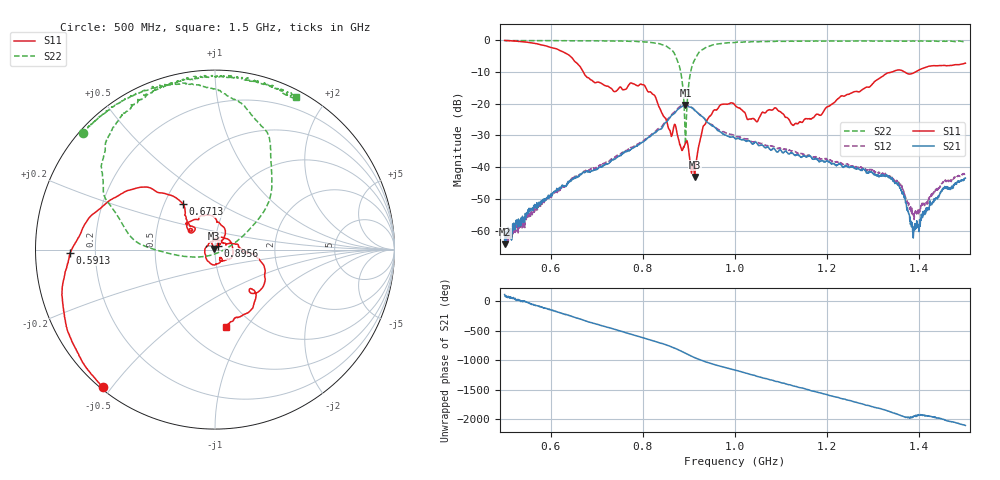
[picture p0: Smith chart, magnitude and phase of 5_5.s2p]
!Agilent Technologies,E8364B,US42250235,A.06.04.32
!Agilent E8364B: A.06.04.32
!Date: Friday, January 15, 2021 12:30:11
!Correction: S11(Full 2 Port(1,2)) S21(Full 2 Port(1,2)) S12(Full 2 Port(1,2)) S22(Full 2 Port(1,2))
!S2P File: Measurements: S11, S21, S12, S22:
# Hz S  dB  R 50
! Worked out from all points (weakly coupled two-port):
!   1601 points, 500 MHz to 1.5 GHz, reference 50 ohm
!   highest |S21| = -20.46 dB at 892.5 MHz (marker M1); lowest = -64.3 dB at 501.2 MHz (marker M2)
!   lowest |S11| = -43.1 dB at 912.5 MHz (marker M3), VSWR 1.01, Z = 49.6 + j0.578 ohm
!   |S11| at or under -10 dB: 670.7 MHz to 1.342 GHz (670.8 MHz wide, 66.7 % of centre); 1.368 GHz to 1.392 GHz (23.79 MHz wide, 1.72 % of centre)
!   |S22| runs from -33.0 to -0.1 dB; largest |S21 - S12| = 0.024
!   S11 on the Smith chart (normalised r, x): 500 MHz: 0.01, -0.48; 591.2 MHz: 0.11, -0.01; 671.2 MHz: 0.62, +0.35; 895.6 MHz: 1.03, +0.04; 1.5 GHz: 0.76, -0.81
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5e8  -0.10 -129.0  -62.63 114.9  -64.68 99.0  -0.15 138.5
5.0125e8  -0.11 -129.6  -64.35 84.1  -61.59 78.5  -0.15 138.4
5.9125e8  -1.86 -178.8  -50.01 -119.8  -49.72 -129.7  -0.18 129.7
6.66875e8  -9.02 126.6  -42.16 52.7  -41.96 61.4  -0.18 122.1
6.7125e8  -10.15 125.1  -41.62 40.3  -41.36 49.6  -0.20 122.1
7.3875e8  -16.20 138.5  -37.47 -115.1  -36.93 -104.1  -0.31 113.2
8e8  -14.04 105.9  -32.06 103.0  -31.84 115.2  -0.51 100.3
8.3375e8  -20.60 54.6  -28.28 21.7  -27.87 35.8  -1.05 88.1
8.74375e8  -29.48 46.6  -22.05 -92.4  -21.72 -77.8  -6.18 49.9
8.925e8  -32.39 65.0  -20.46 -161.6  -20.27 -147.7  -33.01 -63.2
8.95625e8  -31.67 54.3  -20.62 -174.9  -20.43 -160.1  -21.00 -153.0
9.025e8  -38.08 53.1  -21.07 160.9  -20.87 174.9  -10.97 -177.0
9.125e8  -43.15 123.2  -22.13 124.7  -21.95 139.7  -6.19 169.7
9.41875e8  -24.61 90.3  -26.08 40.7  -26.02 57.4  -2.00 142.7
1e9  -20.51 -35.0  -30.98 -87.2  -30.17 -70.3  -0.72 120.7
1.045625e9  -25.49 -60.9  -32.13 174.6  -31.91 -167.4  -0.50 114.1
1.086875e9  -21.32 -93.6  -34.55 85.4  -33.66 104.6  -0.39 106.5
1.166875e9  -24.71 37.0  -37.18 -81.1  -36.99 -60.3  -0.36 97.7
1.33375e9  -10.26 -24.9  -42.88 -65.1  -42.81 -42.6  -0.29 81.1
1.36125e9  -9.50 -45.7  -47.60 -141.3  -45.99 -113.7  -0.35 77.5
1.38875e9  -10.26 -46.5  -58.79 -146.1  -56.51 -123.2  -0.30 76.0
1.5e9  -7.26 -81.8  -43.48 54.8  -41.83 62.6  -0.34 62.1
